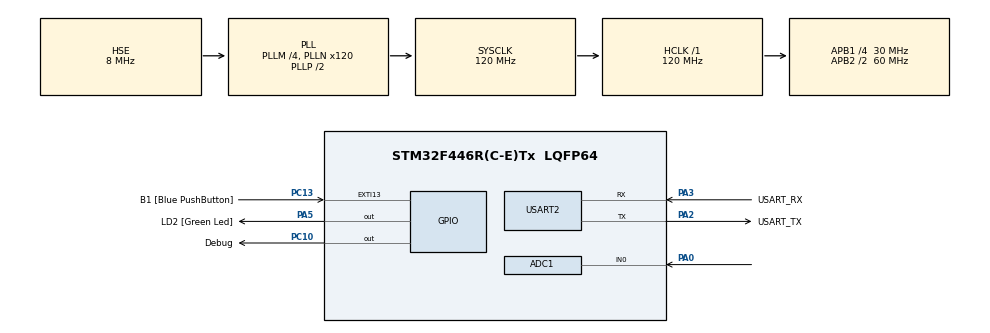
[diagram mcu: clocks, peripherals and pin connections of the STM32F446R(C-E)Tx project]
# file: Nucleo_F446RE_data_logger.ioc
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ADC1.Channel-0\#ChannelRegularConversion=ADC_CHANNEL_0
ADC1.Channel-1\#ChannelInjectedConversion=ADC_CHANNEL_0
ADC1.ContinuousConvMode=DISABLE
ADC1.DiscontinuousConvMode=DISABLE
ADC1.EOCSelection=ADC_EOC_SEQ_CONV
ADC1.ExternalTrigInjecConv=ADC_INJECTED_SOFTWARE_START
ADC1.ExternalTrigInjecConvEdge=ADC_EXTERNALTRIGINJECCONVEDGE_NONE
ADC1.InjNumberOfConversion=1
ADC1.InjectedConvMode=Discontinuous
ADC1.InjectedOffset-1\#ChannelInjectedConversion=0
ADC1.InjectedRank-1\#ChannelInjectedConversion=1
ADC1.NbrOfConversion=1
ADC1.NbrOfConversionFlag=1
ADC1.Rank-0\#ChannelRegularConversion=1
ADC1.SamplingTime-0\#ChannelRegularConversion=ADC_SAMPLETIME_3CYCLES
ADC1.SamplingTime-1\#ChannelInjectedConversion=ADC_SAMPLETIME_3CYCLES
ADC1.master=1
Mcu.Family=STM32F4
Mcu.Name=STM32F446R(C-E)Tx
Mcu.Package=LQFP64
NVIC.PriorityGroup=NVIC_PRIORITYGROUP_0
NVIC.TIM2_IRQn=true\:0\:0\:false\:false\:true\:true\:true\:true
NVIC.TIM5_IRQn=true\:0\:0\:false\:false\:true\:true\:true\:true
PA0-WKUP.Signal=ADCx_IN0
PA13.GPIO_Label=TMS
PA13.Mode=Serial_Wire
PA13.Signal=SYS_JTMS-SWDIO
PA14.GPIO_Label=TCK
PA14.Mode=Serial_Wire
PA14.Signal=SYS_JTCK-SWCLK
PA2.GPIO_Label=USART_TX
PA2.Mode=Asynchronous
PA2.Signal=USART2_TX
PA3.GPIO_Label=USART_RX
PA3.Mode=Asynchronous
PA3.Signal=USART2_RX
PA5.GPIO_Label=LD2 [Green Led]
PA5.Signal=GPIO_Output
PB3.GPIO_Label=SWO
PB3.Signal=SYS_JTDO-SWO
PC10.GPIO_Label=Debug
PC10.GPIO_PuPd=GPIO_PULLDOWN
PC10.GPIO_Speed=GPIO_SPEED_FREQ_VERY_HIGH
PC10.Signal=GPIO_Output
PC13.GPIO_Label=B1 [Blue PushButton]
PC13.GPIO_ModeDefaultEXTI=GPIO_MODE_IT_FALLING
PC13.Signal=GPXTI13
PC14-OSC32_IN.Mode=LSE-External-Oscillator
PC14-OSC32_IN.Signal=RCC_OSC32_IN
PC15-OSC32_OUT.Mode=LSE-External-Oscillator
PC15-OSC32_OUT.Signal=RCC_OSC32_OUT
PH0-OSC_IN.Mode=HSE-External-Oscillator
PH0-OSC_IN.Signal=RCC_OSC_IN
PH1-OSC_OUT.Mode=HSE-External-Oscillator
PH1-OSC_OUT.Signal=RCC_OSC_OUT
ProjectManager.HeapSize=0x200
ProjectManager.StackSize=0x400
ProjectManager.TargetToolchain=EWARM V8.50
RCC.48MHZClocksFreq_Value=84000000
RCC.AHBFreq_Value=120000000
RCC.APB1CLKDivider=RCC_HCLK_DIV4
RCC.APB1Freq_Value=30000000
RCC.APB1TimFreq_Value=60000000
RCC.APB2CLKDivider=RCC_HCLK_DIV2
RCC.APB2Freq_Value=60000000
RCC.APB2TimFreq_Value=120000000
RCC.CortexFreq_Value=120000000
RCC.FLatency-AdvancedSettings=FLASH_LATENCY_3
RCC.HCLKFreq_Value=120000000
RCC.HSE_VALUE=8000000
RCC.HSI_VALUE=16000000
RCC.PLLM=4
RCC.PLLN=120
RCC.PLLSourceVirtual=RCC_PLLSOURCE_HSE
RCC.SYSCLKFreq_VALUE=120000000
RCC.SYSCLKSource=RCC_SYSCLKSOURCE_PLLCLK
RCC.USBFreq_Value=120000000
RCC.VCOOutputFreq_Value=240000000
SH.ADCx_IN0.0=ADC1_IN0,IN0
TIM2.Period=39
TIM2.Prescaler=59
TIM2.TIM_MasterOutputTrigger=TIM_TRGO_UPDATE
TIM5.AutoReloadPreload=TIM_AUTORELOAD_PRELOAD_ENABLE
TIM5.Channel-Output\ Compare4\ No\ Output=TIM_CHANNEL_4
TIM5.Period=1000
TIM5.Prescaler=89
TIM5.TIM_MasterOutputTrigger=TIM_TRGO_OC4REF
TIM5.TIM_MasterSlaveMode=TIM_MASTERSLAVEMODE_DISABLE
USART2.VirtualMode=VM_ASYNC
VP_ADC1_Vref_Input.Mode=IN-Vrefint
VP_TIM2_VS_ClockSourceINT.Mode=Internal
VP_TIM5_VS_no_output4.Mode=Output Compare4 No Output
board=NUCLEO-F446RE

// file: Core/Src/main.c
/* USER CODE BEGIN Header */
/**
  ******************************************************************************
  * @file           : main.c
  * @brief          : Main program body
  ******************************************************************************
  * @attention
  *
  * Copyright (c) 2023 STMicroelectronics.
  * All rights reserved.
  *
  * This software is licensed under terms that can be found in the LICENSE file
  * in the root directory of this software component.
  * If no LICENSE file comes with this software, it is provided AS-IS.
  *
  ******************************************************************************
  */
/* USER CODE END Header */
#include "main.h"

/* USER CODE BEGIN Includes */

#include <stdio.h>
#include <string.h>

/* USER CODE END Includes */

ADC_HandleTypeDef hadc1;

TIM_HandleTypeDef htim2;
TIM_HandleTypeDef htim5;

UART_HandleTypeDef huart2;

void SystemClock_Config(void);
static void MX_GPIO_Init(void);
static void MX_USART2_UART_Init(void);
static void MX_ADC1_Init(void);
static void MX_TIM5_Init(void);
static void MX_TIM2_Init(void);

/* USER CODE BEGIN 0 */

#define NORMALIZE_ADC_SIGNAL  (1)

//#define UART_SPEED 115200
#define UART_SPEED 921600  // 104 uSEc
//#define UART_SPEED 1843200 // 52  uSec

#define ROW_LEN  (1536)

uint32_t row_count = 0;

uint32_t raw_adc1_ch1_val = 0;

uint8_t msg_bug[32];
int msg_len = 0;

//------------------------------------------------------------------------------
#define ADC_BUFFER_SEIZE (25000)

uint16_t raw_adc_buffer[ADC_BUFFER_SEIZE];
uint32_t raw_adc_buffer_index = 0;

// Sampling time 25000 Hz

#define CT_1000_MSEC (25000)
#define CT_500_MSEC  (12500)
#define CT_400_MSEC  (10000)
#define CT_200_MSEC  (5000)
#define CT_100_MSEC  (2500)

#define CAPTURING_TIME  CT_100_MSEC

uint8_t fl_button_press_detected = 0;

void HAL_ADC_ConvCpltCallback(ADC_HandleTypeDef* hadc)
{
}

void HAL_ADCEx_InjectedConvCpltCallback(ADC_HandleTypeDef* hadc)
{
}

void HAL_TIM_PeriodElapsedCallback(TIM_HandleTypeDef *htim)
{

    if (fl_button_press_detected == 1)
    {
        HAL_GPIO_WritePin(Debug_GPIO_Port, Debug_Pin, GPIO_PIN_SET);

        HAL_GPIO_WritePin(LD2_GPIO_Port, LD2_Pin, GPIO_PIN_SET);

        HAL_ADCEx_InjectedStart(&hadc1);

        HAL_ADCEx_InjectedPollForConversion(&hadc1, 1);

        raw_adc1_ch1_val = HAL_ADCEx_InjectedGetValue(&hadc1, ADC_INJECTED_RANK_1);

        raw_adc_buffer[raw_adc_buffer_index] = raw_adc1_ch1_val;

        raw_adc_buffer_index++;

        if (raw_adc_buffer_index >= CAPTURING_TIME)
        {
            fl_button_press_detected = 2;

            HAL_GPIO_WritePin(Debug_GPIO_Port, Debug_Pin, GPIO_PIN_RESET);

            HAL_GPIO_WritePin(LD2_GPIO_Port, LD2_Pin, GPIO_PIN_RESET);
        }
    }
}

void clear_buffer(void)
{
    memset(raw_adc_buffer, 0, sizeof(raw_adc_buffer));

    raw_adc_buffer_index = 0;
}

//------------------------------------------------------------------------------------
//X-cur X1-min X2-max Y1-min Y2-max
double GetLiner(double X, double X1, double X2, double Y1, double Y2 )
{
	double result;
	result = ( (X*(Y2-Y1)) / (X2-X1) ) + ( ( (Y1*X2) - (X1*Y2) ) / (X2-X1) );

	//TEST RESULT ON DIV ON ZERO
	//if(!(result==result))
	//{
	//	return 0.0f;
	//}
	return result;
}

//

/* USER CODE END 0 */

int main(void)
{

  /* MCU Configuration--------------------------------------------------------*/

  /* Reset of all peripherals, Initializes the Flash interface and the Systick. */
  HAL_Init();

  /* Configure the system clock */
  SystemClock_Config();

  /* Initialize all configured peripherals */
  MX_GPIO_Init();
  MX_USART2_UART_Init();
  MX_ADC1_Init();
  MX_TIM5_Init();
  MX_TIM2_Init();
  /* USER CODE BEGIN 2 */

  HAL_TIM_Base_Start_IT(&htim2);

  /* USER CODE END 2 */

  /* Infinite loop */
  /* USER CODE BEGIN WHILE */
  while (1)
  {

    if (fl_button_press_detected == 0)
    {
        if( HAL_GPIO_ReadPin(B1_GPIO_Port, B1_Pin) ==  GPIO_PIN_RESET)
        {
            clear_buffer();

            fl_button_press_detected = 1;
        }
    }

    // send data to UART
    if (fl_button_press_detected == 2)
    {
        double data1 = 0.0;
        double data2 = 0.0;

        HAL_GPIO_WritePin(Debug_GPIO_Port, Debug_Pin, GPIO_PIN_SET);

        for (int i=0; i<CAPTURING_TIME; i++)
        {
            data1 = raw_adc_buffer[i];

            #ifdef NORMALIZE_ADC_SIGNAL

            data2 = GetLiner(data1, 0.0f, 4095.0f, 0.0f, 1.0f);

            #endif

            if (i < (CAPTURING_TIME - 1) )
            {
                msg_len = sprintf((char*)msg_bug, "%0.4f ", data2);
            }
            else
            {
                msg_len = sprintf((char*)msg_bug, "%0.4f\n", data2);
            }

            HAL_GPIO_WritePin(LD2_GPIO_Port, LD2_Pin, GPIO_PIN_SET);

            HAL_UART_Transmit(&huart2, msg_bug, msg_len, 1);  // 102 uSec

            HAL_GPIO_WritePin(LD2_GPIO_Port, LD2_Pin, GPIO_PIN_RESET);
        }

        HAL_GPIO_WritePin(Debug_GPIO_Port, Debug_Pin, GPIO_PIN_RESET);

        fl_button_press_detected = 0;
    }

    /* USER CODE END WHILE */

  }
}

void SystemClock_Config(void)
{
  RCC_OscInitTypeDef RCC_OscInitStruct = {0};
  RCC_ClkInitTypeDef RCC_ClkInitStruct = {0};

  /** Configure the main internal regulator output voltage
  */
  __HAL_RCC_PWR_CLK_ENABLE();
  __HAL_PWR_VOLTAGESCALING_CONFIG(PWR_REGULATOR_VOLTAGE_SCALE3);

  /** Initializes the RCC Oscillators according to the specified parameters
  * in the RCC_OscInitTypeDef structure.
  */
  RCC_OscInitStruct.OscillatorType = RCC_OSCILLATORTYPE_HSE;
  RCC_OscInitStruct.HSEState = RCC_HSE_ON;
  RCC_OscInitStruct.PLL.PLLState = RCC_PLL_ON;
  RCC_OscInitStruct.PLL.PLLSource = RCC_PLLSOURCE_HSE;
  RCC_OscInitStruct.PLL.PLLM = 4;
  RCC_OscInitStruct.PLL.PLLN = 120;
  RCC_OscInitStruct.PLL.PLLP = RCC_PLLP_DIV2;
  RCC_OscInitStruct.PLL.PLLQ = 2;
  RCC_OscInitStruct.PLL.PLLR = 2;
  if (HAL_RCC_OscConfig(&RCC_OscInitStruct) != HAL_OK)
  {
    Error_Handler();
  }

  /** Initializes the CPU, AHB and APB buses clocks
  */
  RCC_ClkInitStruct.ClockType = RCC_CLOCKTYPE_HCLK|RCC_CLOCKTYPE_SYSCLK
                              |RCC_CLOCKTYPE_PCLK1|RCC_CLOCKTYPE_PCLK2;
  RCC_ClkInitStruct.SYSCLKSource = RCC_SYSCLKSOURCE_PLLCLK;
  RCC_ClkInitStruct.AHBCLKDivider = RCC_SYSCLK_DIV1;
  RCC_ClkInitStruct.APB1CLKDivider = RCC_HCLK_DIV4;
  RCC_ClkInitStruct.APB2CLKDivider = RCC_HCLK_DIV2;

  if (HAL_RCC_ClockConfig(&RCC_ClkInitStruct, FLASH_LATENCY_3) != HAL_OK)
  {
    Error_Handler();
  }
}

static void MX_ADC1_Init(void)
{

  ADC_ChannelConfTypeDef sConfig = {0};
  ADC_InjectionConfTypeDef sConfigInjected = {0};

  /** Configure the global features of the ADC (Clock, Resolution, Data Alignment and number of conversion)
  */
  hadc1.Instance = ADC1;
  hadc1.Init.ClockPrescaler = ADC_CLOCK_SYNC_PCLK_DIV2;
  hadc1.Init.Resolution = ADC_RESOLUTION_12B;
  hadc1.Init.ScanConvMode = DISABLE;
  hadc1.Init.ContinuousConvMode = DISABLE;
  hadc1.Init.DiscontinuousConvMode = DISABLE;
  hadc1.Init.ExternalTrigConvEdge = ADC_EXTERNALTRIGCONVEDGE_NONE;
  hadc1.Init.ExternalTrigConv = ADC_SOFTWARE_START;
  hadc1.Init.DataAlign = ADC_DATAALIGN_RIGHT;
  hadc1.Init.NbrOfConversion = 1;
  hadc1.Init.DMAContinuousRequests = DISABLE;
  hadc1.Init.EOCSelection = ADC_EOC_SEQ_CONV;
  if (HAL_ADC_Init(&hadc1) != HAL_OK)
  {
    Error_Handler();
  }

  /** Configure for the selected ADC regular channel its corresponding rank in the sequencer and its sample time.
  */
  sConfig.Channel = ADC_CHANNEL_0;
  sConfig.Rank = 1;
  sConfig.SamplingTime = ADC_SAMPLETIME_3CYCLES;
  if (HAL_ADC_ConfigChannel(&hadc1, &sConfig) != HAL_OK)
  {
    Error_Handler();
  }

  /** Configures for the selected ADC injected channel its corresponding rank in the sequencer and its sample time
  */
  sConfigInjected.InjectedChannel = ADC_CHANNEL_0;
  sConfigInjected.InjectedRank = 1;
  sConfigInjected.InjectedNbrOfConversion = 1;
  sConfigInjected.InjectedSamplingTime = ADC_SAMPLETIME_3CYCLES;
  sConfigInjected.ExternalTrigInjecConvEdge = ADC_EXTERNALTRIGINJECCONVEDGE_NONE;
  sConfigInjected.ExternalTrigInjecConv = ADC_INJECTED_SOFTWARE_START;
  sConfigInjected.AutoInjectedConv = DISABLE;
  sConfigInjected.InjectedDiscontinuousConvMode = ENABLE;
  sConfigInjected.InjectedOffset = 0;
  if (HAL_ADCEx_InjectedConfigChannel(&hadc1, &sConfigInjected) != HAL_OK)
  {
    Error_Handler();
  }

}

static void MX_TIM2_Init(void)
{

  TIM_ClockConfigTypeDef sClockSourceConfig = {0};
  TIM_MasterConfigTypeDef sMasterConfig = {0};

  htim2.Instance = TIM2;
  htim2.Init.Prescaler = 59;
  htim2.Init.CounterMode = TIM_COUNTERMODE_UP;
  htim2.Init.Period = 39;
  htim2.Init.ClockDivision = TIM_CLOCKDIVISION_DIV1;
  htim2.Init.AutoReloadPreload = TIM_AUTORELOAD_PRELOAD_DISABLE;
  if (HAL_TIM_Base_Init(&htim2) != HAL_OK)
  {
    Error_Handler();
  }
  sClockSourceConfig.ClockSource = TIM_CLOCKSOURCE_INTERNAL;
  if (HAL_TIM_ConfigClockSource(&htim2, &sClockSourceConfig) != HAL_OK)
  {
    Error_Handler();
  }
  sMasterConfig.MasterOutputTrigger = TIM_TRGO_UPDATE;
  sMasterConfig.MasterSlaveMode = TIM_MASTERSLAVEMODE_DISABLE;
  if (HAL_TIMEx_MasterConfigSynchronization(&htim2, &sMasterConfig) != HAL_OK)
  {
    Error_Handler();
  }

}

static void MX_TIM5_Init(void)
{

  TIM_MasterConfigTypeDef sMasterConfig = {0};
  TIM_OC_InitTypeDef sConfigOC = {0};

  htim5.Instance = TIM5;
  htim5.Init.Prescaler = 89;
  htim5.Init.CounterMode = TIM_COUNTERMODE_UP;
  htim5.Init.Period = 1000;
  htim5.Init.ClockDivision = TIM_CLOCKDIVISION_DIV1;
  htim5.Init.AutoReloadPreload = TIM_AUTORELOAD_PRELOAD_ENABLE;
  if (HAL_TIM_OC_Init(&htim5) != HAL_OK)
  {
    Error_Handler();
  }
  sMasterConfig.MasterOutputTrigger = TIM_TRGO_OC4REF;
  sMasterConfig.MasterSlaveMode = TIM_MASTERSLAVEMODE_DISABLE;
  if (HAL_TIMEx_MasterConfigSynchronization(&htim5, &sMasterConfig) != HAL_OK)
  {
    Error_Handler();
  }
  sConfigOC.OCMode = TIM_OCMODE_TIMING;
  sConfigOC.Pulse = 0;
  sConfigOC.OCPolarity = TIM_OCPOLARITY_HIGH;
  sConfigOC.OCFastMode = TIM_OCFAST_DISABLE;
  if (HAL_TIM_OC_ConfigChannel(&htim5, &sConfigOC, TIM_CHANNEL_4) != HAL_OK)
  {
    Error_Handler();
  }

}

static void MX_USART2_UART_Init(void)
{

  /* USER CODE BEGIN USART2_Init 1 */

  #warning please sen instade 115200 the defs UART_SPEED

  /* USER CODE END USART2_Init 1 */
  huart2.Instance = USART2;
  huart2.Init.BaudRate = UART_SPEED; //115200;
  huart2.Init.WordLength = UART_WORDLENGTH_8B;
  huart2.Init.StopBits = UART_STOPBITS_1;
  huart2.Init.Parity = UART_PARITY_NONE;
  huart2.Init.Mode = UART_MODE_TX_RX;
  huart2.Init.HwFlowCtl = UART_HWCONTROL_NONE;
  huart2.Init.OverSampling = UART_OVERSAMPLING_16;
  if (HAL_UART_Init(&huart2) != HAL_OK)
  {
    Error_Handler();
  }

}

static void MX_GPIO_Init(void)
{
  GPIO_InitTypeDef GPIO_InitStruct = {0};

  /* GPIO Ports Clock Enable */
  __HAL_RCC_GPIOC_CLK_ENABLE();
  __HAL_RCC_GPIOH_CLK_ENABLE();
  __HAL_RCC_GPIOA_CLK_ENABLE();
  __HAL_RCC_GPIOB_CLK_ENABLE();

  /*Configure GPIO pin Output Level */
  HAL_GPIO_WritePin(LD2_GPIO_Port, LD2_Pin, GPIO_PIN_RESET);

  /*Configure GPIO pin Output Level */
  HAL_GPIO_WritePin(Debug_GPIO_Port, Debug_Pin, GPIO_PIN_RESET);

  /*Configure GPIO pin : B1_Pin */
  GPIO_InitStruct.Pin = B1_Pin;
  GPIO_InitStruct.Mode = GPIO_MODE_IT_FALLING;
  GPIO_InitStruct.Pull = GPIO_NOPULL;
  HAL_GPIO_Init(B1_GPIO_Port, &GPIO_InitStruct);

  /*Configure GPIO pin : LD2_Pin */
  GPIO_InitStruct.Pin = LD2_Pin;
  GPIO_InitStruct.Mode = GPIO_MODE_OUTPUT_PP;
  GPIO_InitStruct.Pull = GPIO_NOPULL;
  GPIO_InitStruct.Speed = GPIO_SPEED_FREQ_LOW;
  HAL_GPIO_Init(LD2_GPIO_Port, &GPIO_InitStruct);

  /*Configure GPIO pin : Debug_Pin */
  GPIO_InitStruct.Pin = Debug_Pin;
  GPIO_InitStruct.Mode = GPIO_MODE_OUTPUT_PP;
  GPIO_InitStruct.Pull = GPIO_PULLDOWN;
  GPIO_InitStruct.Speed = GPIO_SPEED_FREQ_VERY_HIGH;
  HAL_GPIO_Init(Debug_GPIO_Port, &GPIO_InitStruct);

}

void Error_Handler(void)
{
  __disable_irq();
  while (1)
  {
  }
}
